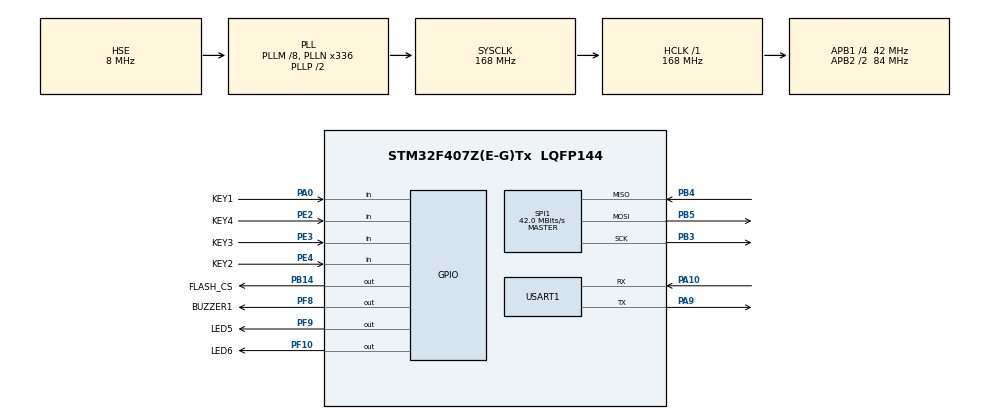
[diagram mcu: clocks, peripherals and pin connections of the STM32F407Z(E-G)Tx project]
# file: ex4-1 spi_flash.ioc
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Mcu.Family=STM32F4
Mcu.Name=STM32F407Z(E-G)Tx
Mcu.Package=LQFP144
NVIC.PriorityGroup=NVIC_PRIORITYGROUP_4
NVIC.USART1_IRQn=true\:0\:0\:false\:false\:true
PA0-WKUP.GPIO_Label=KEY1
PA0-WKUP.Signal=GPIO_Input
PA10.GPIO_Speed=GPIO_SPEED_FREQ_LOW
PA10.Mode=Asynchronous
PA10.Signal=USART1_RX
PA9.GPIO_Speed=GPIO_SPEED_FREQ_LOW
PA9.Mode=Asynchronous
PA9.Signal=USART1_TX
PB14.GPIO_Label=FLASH_CS
PB14.GPIO_Speed=GPIO_SPEED_FREQ_VERY_HIGH
PB14.Signal=GPIO_Output
PB3.Mode=Full_Duplex_Master
PB3.Signal=SPI1_SCK
PB4.Mode=Full_Duplex_Master
PB4.Signal=SPI1_MISO
PB5.Mode=Full_Duplex_Master
PB5.Signal=SPI1_MOSI
PC14-OSC32_IN.Mode=LSE-External-Oscillator
PC14-OSC32_IN.Signal=RCC_OSC32_IN
PC15-OSC32_OUT.Mode=LSE-External-Oscillator
PC15-OSC32_OUT.Signal=RCC_OSC32_OUT
PE2.GPIO_Label=KEY4
PE2.Signal=GPIO_Input
PE3.GPIO_Label=KEY3
PE3.Signal=GPIO_Input
PE4.GPIO_Label=KEY2
PE4.Signal=GPIO_Input
PF10.GPIO_Label=LED6
PF10.PinState=GPIO_PIN_SET
PF10.Signal=GPIO_Output
PF8.GPIO_Label=BUZZER1
PF8.PinState=GPIO_PIN_RESET
PF8.Signal=GPIO_Output
PF9.GPIO_Label=LED5
PF9.PinState=GPIO_PIN_SET
PF9.Signal=GPIO_Output
PH0-OSC_IN.Mode=HSE-External-Oscillator
PH0-OSC_IN.Signal=RCC_OSC_IN
PH1-OSC_OUT.Mode=HSE-External-Oscillator
PH1-OSC_OUT.Signal=RCC_OSC_OUT
ProjectManager.HeapSize=0x200
ProjectManager.StackSize=0x400
ProjectManager.TargetToolchain=MDK-ARM V5
RCC.48MHZClocksFreq_Value=84000000
RCC.AHBFreq_Value=168000000
RCC.APB1CLKDivider=RCC_HCLK_DIV4
RCC.APB1Freq_Value=42000000
RCC.APB1TimFreq_Value=84000000
RCC.APB2CLKDivider=RCC_HCLK_DIV2
RCC.APB2Freq_Value=84000000
RCC.APB2TimFreq_Value=168000000
RCC.CortexFreq_Value=21000000
RCC.Cortex_Div=SYSTICK_CLKSOURCE_HCLK_DIV8
RCC.FLatency=FLASH_LATENCY_5
RCC.HCLKFreq_Value=168000000
RCC.HSE_VALUE=8000000
RCC.HSI_VALUE=16000000
RCC.PLLM=8
RCC.PLLN=336
RCC.PLLSourceVirtual=RCC_PLLSOURCE_HSE
RCC.SYSCLKFreq_VALUE=168000000
RCC.SYSCLKSource=RCC_SYSCLKSOURCE_PLLCLK
RCC.VCOOutputFreq_Value=336000000
SPI1.BaudRatePrescaler=SPI_BAUDRATEPRESCALER_2
SPI1.CRCCalculation=SPI_CRCCALCULATION_DISABLE
SPI1.CalculateBaudRate=42.0 MBits/s
SPI1.Mode=SPI_MODE_MASTER
board=ex4-1 spi_flash

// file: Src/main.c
/**
  ******************************************************************************
  * File Name          : main.c
  * Description        : Main program body
  ******************************************************************************
  *
  * COPYRIGHT(c) 2016 STMicroelectronics
  *
  * Redistribution and use in source and binary forms, with or without modification,
  * are permitted provided that the following conditions are met:
  *   1. Redistributions of source code must retain the above copyright notice,
  *      this list of conditions and the following disclaimer.
  *   2. Redistributions in binary form must reproduce the above copyright notice,
  *      this list of conditions and the following disclaimer in the documentation
  *      and/or other materials provided with the distribution.
  *   3. Neither the name of STMicroelectronics nor the names of its contributors
  *      may be used to endorse or promote products derived from this software
  *      without specific prior written permission.
  *
  * THIS SOFTWARE IS PROVIDED BY THE COPYRIGHT HOLDERS AND CONTRIBUTORS "AS IS"
  * AND ANY EXPRESS OR IMPLIED WARRANTIES, INCLUDING, BUT NOT LIMITED TO, THE
  * IMPLIED WARRANTIES OF MERCHANTABILITY AND FITNESS FOR A PARTICULAR PURPOSE ARE
  * DISCLAIMED. IN NO EVENT SHALL THE COPYRIGHT HOLDER OR CONTRIBUTORS BE LIABLE
  * FOR ANY DIRECT, INDIRECT, INCIDENTAL, SPECIAL, EXEMPLARY, OR CONSEQUENTIAL
  * DAMAGES (INCLUDING, BUT NOT LIMITED TO, PROCUREMENT OF SUBSTITUTE GOODS OR
  * SERVICES; LOSS OF USE, DATA, OR PROFITS; OR BUSINESS INTERRUPTION) HOWEVER
  * CAUSED AND ON ANY THEORY OF LIABILITY, WHETHER IN CONTRACT, STRICT LIABILITY,
  * OR TORT (INCLUDING NEGLIGENCE OR OTHERWISE) ARISING IN ANY WAY OUT OF THE USE
  * OF THIS SOFTWARE, EVEN IF ADVISED OF THE POSSIBILITY OF SUCH DAMAGE.
  *
  ******************************************************************************
  */
#include "main.h"
#include "stm32f4xx_hal.h"
#include "spi.h"
#include "usart.h"
#include "gpio.h"

/* USER CODE BEGIN Includes */
/*****************************************************************************
@File name:
@Description: spi读取W25Q64的id信息, 通过串口打印出来，然后再将存到flash 0x100
			  位置的字符串打印出来，uart1用中断方式接收数据,再发回给pc。
			  串口回传字符处理函数是中断里处理的，所以有数据接收到会马上回传。

@Author: Harry Wu
@Version: V1.0
@Date: 2016-12-06
@History:
		V1.0: 查询方式检查SPI数据是否传输完毕.

*****************************************************************************/
#include "MyTypeDef.h"
#include "key.h"
#include "led.h"
#include "usart.h"
#include "flash.h"
#include "stdio.h"
#include "string.h"
/* USER CODE END Includes */

/* USER CODE BEGIN PV */
/* Private variables ---------------------------------------------------------*/

/* USER CODE END PV */

void SystemClock_Config(void);
void Error_Handler(void);

/* USER CODE BEGIN PFP */
/* Private function prototypes -----------------------------------------------*/

/* USER CODE END PFP */

int main(void)
{

  /* USER CODE BEGIN 1 */
	u8 key;
	u16 times=0;
	//u8 p[]="hello world!!! Harry\r\n";
	u8 *p="hello world!!! Harry\r\n";
	u8 buf[100];
//	u8 len;  //获取接收到的字节数
//	#define USART_REC_LEN  			200  	//定义最大接收字节数 200
//	u8 rec_data_buf[USART_REC_LEN];
	//u8 buff[10];
	//硬件初始化
  /* USER CODE END 1 */

  /* MCU Configuration----------------------------------------------------------*/

  /* Reset of all peripherals, Initializes the Flash interface and the Systick. */
  HAL_Init();

  /* Configure the system clock */
  SystemClock_Config();

  /* Initialize all configured peripherals */
  MX_GPIO_Init();
  MX_USART1_UART_Init();
  MX_SPI1_Init();

  /* USER CODE BEGIN 2 */
	__HAL_SPI_ENABLE(&hspi1);

  HAL_UART_Receive_IT(&huart1, (u8 *)aRxBuffer, RXBUFFERSIZE);

  SPI_Flash_Init();
  SPI_Flash_Write((u8 *)p,0x100,strlen(p)+1);  //把p字符串写到0x100地址那里
  SPI_Flash_Read(buf,0x100,strlen(p)+1);  //将0x100地址的内容读取到buf数组中
  /* USER CODE END 2 */

  /* Infinite loop */
  /* USER CODE BEGIN WHILE */
  while (1)
  {
	key = key_scanf();
	if(key == KEY1_OK) LED5 = !LED5;
	else if(key == KEY2_OK) LED6 = !LED6;
	else if(key == KEY3_OK) BUZZER1 = !BUZZER1;

	printf("FLASH的ID为：0x%x\r\n",SPI_FLASH_TYPE);
	printf("存到0x100地址的字符串为：%s",buf);
	HAL_Delay(1000);  //这个会影响UART1串口的字符串处理

    if(USART_RX_STA&(0x01<<15))  //如果接收完成
	{
//			len=USART_RX_STA&0x3fff;//得到此次接收到的数据长度
//			printf("\r\n您发送的消息为:\r\n");
//			HAL_UART_Transmit(&huart1,rec_data_buf,len,1000);	//发送接收到的数据
//			while(__HAL_UART_GET_FLAG(&huart1,UART_FLAG_TC)!=SET);		//等待发送结束
//			printf("\r\n\r\n");//插入换行
//			USART_RX_STA=0;
	}
	//如果接收没完成,接收完成了时候需要发送数据会上位机,所以下面的任务在没完成时处理比较好
	else
	{
		times++;  //time++很慢，后面都基本很长时间才能看到
		if(times%5000==0)
		{
			printf("\r\n等的牙都长了\r\n");
			//printf("正点原子@ALIENTEK\r\n\r\n\r\n");
		}
		if(times%200==0) printf("请输入数据,以回车键结束\r\n");
		if(times%30==0) LED5=!LED5;//闪烁LED,提示系统正在运行.
		HAL_Delay(10);
	}

  /* USER CODE END WHILE */

  }

}

/** System Clock Configuration
*/
void SystemClock_Config(void)
{

  RCC_OscInitTypeDef RCC_OscInitStruct;
  RCC_ClkInitTypeDef RCC_ClkInitStruct;

    /**Configure the main internal regulator output voltage
    */
  __HAL_RCC_PWR_CLK_ENABLE();

  __HAL_PWR_VOLTAGESCALING_CONFIG(PWR_REGULATOR_VOLTAGE_SCALE1);

    /**Initializes the CPU, AHB and APB busses clocks
    */
  RCC_OscInitStruct.OscillatorType = RCC_OSCILLATORTYPE_HSE;
  RCC_OscInitStruct.HSEState = RCC_HSE_ON;
  RCC_OscInitStruct.PLL.PLLState = RCC_PLL_ON;
  RCC_OscInitStruct.PLL.PLLSource = RCC_PLLSOURCE_HSE;
  RCC_OscInitStruct.PLL.PLLM = 8;
  RCC_OscInitStruct.PLL.PLLN = 336;
  RCC_OscInitStruct.PLL.PLLP = RCC_PLLP_DIV2;
  RCC_OscInitStruct.PLL.PLLQ = 4;
  if (HAL_RCC_OscConfig(&RCC_OscInitStruct) != HAL_OK)
  {
    Error_Handler();
  }

    /**Initializes the CPU, AHB and APB busses clocks
    */
  RCC_ClkInitStruct.ClockType = RCC_CLOCKTYPE_HCLK|RCC_CLOCKTYPE_SYSCLK
                              |RCC_CLOCKTYPE_PCLK1|RCC_CLOCKTYPE_PCLK2;
  RCC_ClkInitStruct.SYSCLKSource = RCC_SYSCLKSOURCE_PLLCLK;
  RCC_ClkInitStruct.AHBCLKDivider = RCC_SYSCLK_DIV1;
  RCC_ClkInitStruct.APB1CLKDivider = RCC_HCLK_DIV4;
  RCC_ClkInitStruct.APB2CLKDivider = RCC_HCLK_DIV2;

  if (HAL_RCC_ClockConfig(&RCC_ClkInitStruct, FLASH_LATENCY_5) != HAL_OK)
  {
    Error_Handler();
  }

    /**Configure the Systick interrupt time
    */
  HAL_SYSTICK_Config(HAL_RCC_GetHCLKFreq()/8000);

    /**Configure the Systick
    */
  HAL_SYSTICK_CLKSourceConfig(SYSTICK_CLKSOURCE_HCLK_DIV8);

  /* SysTick_IRQn interrupt configuration */
  HAL_NVIC_SetPriority(SysTick_IRQn, 0, 0);
}

void Error_Handler(void)
{
  while(1)
  {
  }
}

/************************ (C) COPYRIGHT STMicroelectronics *****END OF FILE****/
